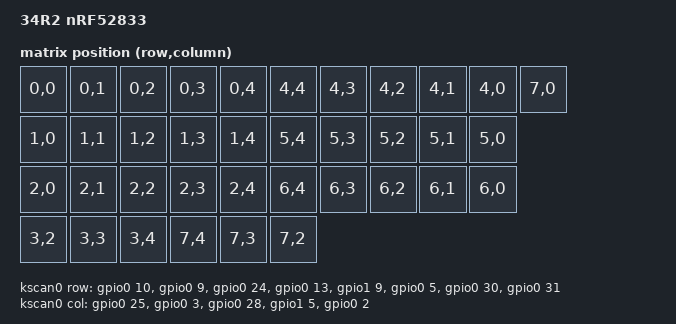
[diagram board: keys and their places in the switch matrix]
/*
 * Copyright (c) 2020 The ZMK Contributors
 *
 * SPDX-License-Identifier: MIT
 */

/dts-v1/;
#include <nordic/nrf52833_qiaa.dtsi>
#include <dt-bindings/zmk/matrix_transform.h>
#include <layouts/common/ortho_4x12/all1u.dtsi>
#include <dt-bindings/led/led.h>
#include "nrf_34_r2_833-pinctrl.dtsi"


/ {
    model = "34R2 nRF52833";
    compatible = "chenluo,nrf_34_R2";

    chosen {
        zephyr,code-partition = &code_partition;
        zephyr,sram = &sram0;
        zephyr,flash = &flash0;
        zmk,battery = &vbatt;
        zmk,kscan = &kscan0;
        zmk,physical-layout = &layout_ortho_4x12_all1u;
        zmk,underglow = &led_strip;
    };

    vbatt: vbatt {
        compatible = "zmk,battery-voltage-divider";
        io-channels = <&adc 2>;
        output-ohms = <2000000>;
        full-ohms = <(2000000 + 820000)>;
    };

    kscan0: kscan {
        compatible = "zmk,kscan-gpio-matrix";
        diode-direction = "col2row";
        wakeup-source;
        col-gpios
            = <&gpio0 25 GPIO_ACTIVE_HIGH>
            , <&gpio0  3 GPIO_ACTIVE_HIGH>
            , <&gpio0 28 GPIO_ACTIVE_HIGH>
            , <&gpio1  5 GPIO_ACTIVE_HIGH>
            , <&gpio0  2 GPIO_ACTIVE_HIGH>
            ;
        row-gpios
            = <&gpio0 10 (GPIO_ACTIVE_HIGH | GPIO_PULL_DOWN)>
            , <&gpio0  9 (GPIO_ACTIVE_HIGH | GPIO_PULL_DOWN)>
            , <&gpio0 24 (GPIO_ACTIVE_HIGH | GPIO_PULL_DOWN)>
            , <&gpio0 13 (GPIO_ACTIVE_HIGH | GPIO_PULL_DOWN)>
            , <&gpio1  9 (GPIO_ACTIVE_HIGH | GPIO_PULL_DOWN)>
            , <&gpio0  5 (GPIO_ACTIVE_HIGH | GPIO_PULL_DOWN)>
            , <&gpio0 30 (GPIO_ACTIVE_HIGH | GPIO_PULL_DOWN)>
            , <&gpio0 31 (GPIO_ACTIVE_HIGH | GPIO_PULL_DOWN)>
            ;
    };

    layout_grid_transform:
        keymap_transform_0 {
            compatible = "zmk,matrix-transform";
            columns = <11>;
            rows = <4>;
            map = <
            RC(0,0) RC(0,1) RC(0,2) RC(0,3) RC(0,4) RC(4,4) RC(4,3) RC(4,2) RC(4,1) RC(4,0) RC(7,0)
            RC(1,0) RC(1,1) RC(1,2) RC(1,3) RC(1,4) RC(5,4) RC(5,3) RC(5,2) RC(5,1) RC(5,0)
            RC(2,0) RC(2,1) RC(2,2) RC(2,3) RC(2,4) RC(6,4) RC(6,3) RC(6,2) RC(6,1) RC(6,0)
            RC(3,2) RC(3,3) RC(3,4) RC(7,4) RC(7,3) RC(7,2)
            >;
        };

    // Node name must match original "EXT_POWER" label to preserve user settings.
    EXT_POWER {
        compatible = "zmk,ext-power-generic";
        control-gpios = <&gpio0 4 GPIO_ACTIVE_HIGH>;
    };


};

&adc {
    status = "okay";
};

&gpiote {
    status = "okay";
};

&gpio0 {
    status = "okay";
};

&gpio1 {
    status = "okay";
};

zephyr_udc0: &usbd {
    compatible = "nordic,nrf-usbd";
    status = "okay";
};

&spi3 {
    compatible = "nordic,nrf-spim";
    status = "okay";

    pinctrl-0 = <&spi3_default>;
    pinctrl-1 = <&spi3_sleep>;
    pinctrl-names = "default", "sleep";

    led_strip: ws2812@0 {
        compatible = "worldsemi,ws2812-spi";

        /* SPI */
        reg = <0>; /* ignored, but necessary for SPI bindings */
        spi-max-frequency = <4000000>;

        /* WS2812 */
        chain-length = <10>; /* number of LEDs */
        spi-one-frame = <0x70>;
        spi-zero-frame = <0x40>;
        color-mapping = <LED_COLOR_ID_GREEN
                         LED_COLOR_ID_RED
                         LED_COLOR_ID_BLUE>;
    };
};


&flash0 {
    /*
     * For more information, see:
     * http://docs.zephyrproject.org/latest/devices/dts/flash_partitions.html
     */
     partitions {
        compatible = "fixed-partitions";
        #address-cells = <1>;
        #size-cells = <1>;

        sd_partition: partition@0 {
            reg = <0x00000000 0x00026000>;
        };
        code_partition: partition@26000 {
            reg = <0x00026000 0x00046000>;
        };

        /*
         * The flash starting at 0x0006c000 and ending at
         * 0x00073fff is reserved for use by the application.
         */

        /*
         * Storage partition will be used by FCB/LittleFS/NVS
         * if enabled.
         */
        storage_partition: partition@6c000 {
            reg = <0x0006c000 0x00008000>;
        };

        boot_partition: partition@74000 {
            reg = <0x00074000 0x0000c000>;
        };
    };
};

&layout_ortho_4x12_all1u {
    transform = <&layout_grid_transform>;
};
